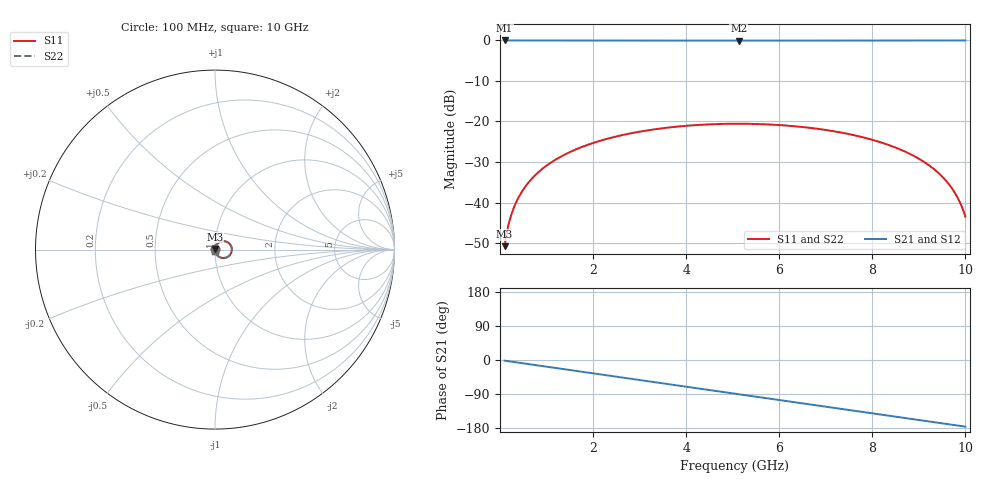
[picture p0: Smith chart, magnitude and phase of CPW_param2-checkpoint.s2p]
! Sonnet Data File
! From: em Version : 19.52.2025
! From Project: CPW
! Data is De-embedded
! Data File Written: 02/24/2026 12:47:39
!< HDATE 02/24/2026 12:38:38
!< MDATE 02/24/2026 12:38:38
!< PARAMS
!< Lk = 0.2
!< END PARAMS
# GHZ S MA R 50.00000
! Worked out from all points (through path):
!   4951 points, 100 MHz to 10 GHz, reference 50 ohm
!   highest |S21| = 0.00 dB at 100 MHz (marker M1); lowest = 0.0 dB at 5.13 GHz (marker M2)
!   group delay of S21, straight-line fit = 48.8 ps
!   lowest |S11| = -50.8 dB at 100 MHz (marker M3), VSWR 1.01, Z = 50 + j0.289 ohm
!   |S11| at or under -10 dB: start of sweep to end of sweep
!   |S22| runs from -50.8 to -20.6 dB; largest |S21 - S12| = 6.1e-13
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0.1  0.002895 88.3  1 -1.8  1 -1.8  0.002895 88.3
0.206  0.005963 86.4  1 -3.6  1 -3.6  0.005963 86.4
0.3  0.008678 84.7  1 -5.3  1 -5.3  0.008678 84.7
0.434  0.01253 82.4  0.9999 -7.7  0.9999 -7.7  0.01253 82.4
0.604  0.0174 79.4  0.9998 -10.7  0.9998 -10.7  0.0174 79.4
0.82  0.0235 75.5  0.9997 -14.5  0.9997 -14.5  0.0235 75.5
1.08  0.0307 70.9  0.9995 -19.1  0.9995 -19.1  0.0307 70.9
1.75  0.04823 59.1  0.9988 -30.9  0.9988 -30.9  0.04823 59.1
2.502  0.06541 45.9  0.9978 -44.2  0.9978 -44.2  0.06541 45.9
3.4  0.08125 30.1  0.9966 -59.9  0.9966 -59.9  0.08125 30.1
4.234  0.09048 15.5  0.9958 -74.6  0.9958 -74.6  0.09048 15.5
5.05  0.09383 1.2  0.9955 -88.9  0.9955 -88.9  0.09383 1.2
5.13  0.09384 -0.2  0.9955 -90.3  0.9955 -90.3  0.09384 -0.2
5.908  0.09107 -13.9  0.9958 -103.9  0.9958 -103.9  0.09107 -13.9
6.7  0.08298 -27.8  0.9965 -117.8  0.9965 -117.8  0.08298 -27.8
7.592  0.06807 -43.4  0.9976 -133.5  0.9976 -133.5  0.06807 -43.4
8.35  0.05133 -56.8  0.9986 -146.8  0.9986 -146.8  0.05133 -56.8
8.954  0.03594 -67.4  0.9992 -157.4  0.9992 -157.4  0.03594 -67.4
9.418  0.02325 -75.6  0.9996 -165.6  0.9996 -165.6  0.02325 -75.6
9.748  0.01391 -81.4  0.9998 -171.5  0.9998 -171.5  0.01391 -81.4
9.862  0.01065 -83.4  0.9998 -173.5  0.9998 -173.5  0.01065 -83.4
10  0.006686 -85.7  0.9998 -175.9  0.9998 -175.9  0.006686 -85.8
